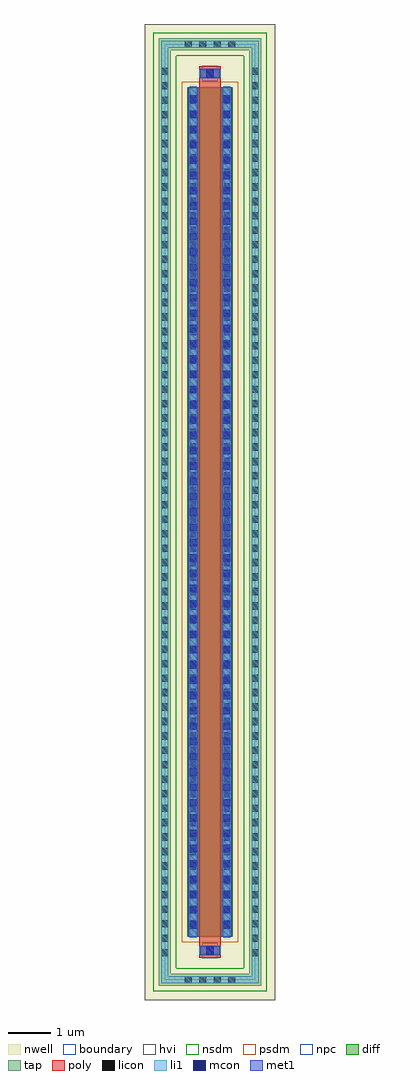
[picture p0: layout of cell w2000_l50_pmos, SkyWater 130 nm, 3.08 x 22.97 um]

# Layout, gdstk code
import gdstk
lib = gdstk.Library(unit=1e-6, precision=1e-09)
def R(c, l, rs):  # rectangles x0, y0, x1, y1
    for r in rs: c.add(gdstk.rectangle(r[:2], r[2:], *l))
def A(c, l, x, y, w, h, nx, ny, dx, dy):  # array of equal rectangles
    R(c, l, [(x+i*dx, y+j*dy, x+i*dx+w, y+j*dy+h) for i in range(nx) for j in range(ny)])
nwell = (64, 20)
diff = (65, 20)
tap = (65, 44)
poly = (66, 20)
licon = (66, 44)
li1 = (67, 20)
mcon = (67, 44)
met1 = (68, 20)
hvi = (75, 20)
nsdm = (93, 44)
psdm = (94, 20)
npc = (95, 20)
boundary = (235, 4)

sky130_fd_pr__pfet_g5v0d = lib.new_cell('sky130_fd_pr__pfet_g5v0d10v5')

w2000_l50_pmos = lib.new_cell('w2000_l50_pmos')
R(w2000_l50_pmos, nwell, [(-1.54,-11.485,1.54,11.485)])
R(w2000_l50_pmos, diff, [(-0.54,-10,0.54,10)])
R(w2000_l50_pmos, tap, [(-1.21,-11.155,1.21,-10.865), (-1.21,-10.865,-0.92,10.865), (0.92,-10.865,1.21,10.865), (-1.21,10.865,1.21,11.155)])
R(w2000_l50_pmos, poly, [(-0.25,-10.485,0.25,10.485)])
A(w2000_l50_pmos, licon, -0.595, -11.095, 0.17, 0.17, 4, 2, 0.34, 22.02)
A(w2000_l50_pmos, licon, -1.15, -10.455, 0.17, 0.17, 1, 62, 0, 0.34)
A(w2000_l50_pmos, licon, 0.98, -10.455, 0.17, 0.17, 1, 62, 0, 0.34)
A(w2000_l50_pmos, licon, -0.48, -9.775, 0.17, 0.17, 1, 58, 0, 0.34)
A(w2000_l50_pmos, licon, 0.31, -9.775, 0.17, 0.17, 1, 58, 0, 0.34)
R(w2000_l50_pmos, licon, [(-0.085,-10.405,0.085,-10.235), (-0.085,10.235,0.085,10.405)])
R(w2000_l50_pmos, li1, [(-1.15,-11.095,1.15,-10.925), (-1.15,-10.925,-0.98,10.925), (0.98,-10.925,1.15,10.925), (-0.25,-10.405,0.25,-10.235), (-0.48,-10.02,-0.31,10.02), (0.31,-10.02,0.48,10.02), (-0.25,10.235,0.25,10.405), (-1.15,10.925,1.15,11.095)])
A(w2000_l50_pmos, mcon, -0.48, -9.805, 0.17, 0.17, 1, 55, 0, 0.36)
A(w2000_l50_pmos, mcon, 0.31, -9.805, 0.17, 0.17, 1, 55, 0, 0.36)
R(w2000_l50_pmos, mcon, [(-0.085,-10.405,0.085,-10.235), (-0.085,10.235,0.085,10.405)])
R(w2000_l50_pmos, met1, [(-0.23,-10.435,0.23,-10.205), (-0.51,-10,-0.28,10), (0.28,-10,0.51,10), (-0.23,10.205,0.23,10.435)])
R(w2000_l50_pmos, hvi, [(-1.54,-11.485,1.54,11.485)])
R(w2000_l50_pmos, nsdm, [(-1.335,-11.28,1.335,-10.74), (-1.335,-10.74,-0.795,10.74), (0.795,-10.74,1.335,10.74), (-1.335,10.74,1.335,11.28)])
R(w2000_l50_pmos, psdm, [(-0.665,-10.125,0.665,10.125)])
R(w2000_l50_pmos, npc, [(-0.185,-10.505,0.185,-10.135), (-0.185,10.135,0.185,10.505)])
R(w2000_l50_pmos, boundary, [(-1.065,-11.01,1.065,11.01)])
w2000_l50_pmos.add(gdstk.Reference(sky130_fd_pr__pfet_g5v0d, (0,0)))

lib.write_gds('w2000_l50_pmos.gds')
